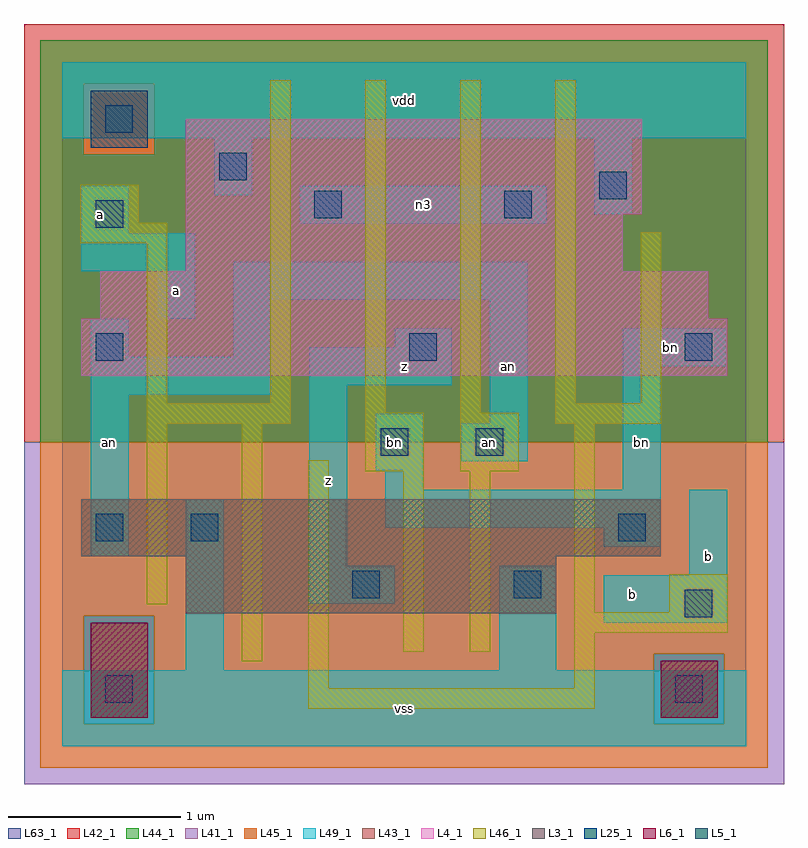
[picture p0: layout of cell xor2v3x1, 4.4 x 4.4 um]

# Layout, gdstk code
import gdstk
lib = gdstk.Library(unit=1e-6, precision=1e-09)
def R(c, l, rs):  # rectangles x0, y0, x1, y1
    for r in rs: c.add(gdstk.rectangle(r[:2], r[2:], *l))
L3_1 = (3, 1)
L4_1 = (4, 1)
L5_1 = (5, 1)
L6_1 = (6, 1)
L25_1 = (25, 1)
L41_1 = (41, 1)
L42_1 = (42, 1)
L43_1 = (43, 1)
L44_1 = (44, 1)
L45_1 = (45, 1)
L46_1 = (46, 1)
L49_1 = (49, 1)
L63_1 = (63, 1)

xor2v3x1 = lib.new_cell('xor2v3x1')
R(xor2v3x1, L3_1, [(0.715,0.77,2.86,1.1), (0.11,1.1,3.465,1.43)])
R(xor2v3x1, L4_1, [(0.11,2.145,3.85,2.475), (0.22,2.475,3.74,2.75), (0.715,2.75,3.245,3.08), (0.715,3.08,3.355,3.63)])
R(xor2v3x1, L5_1, [(0.165,3.465,0.495,3.795)])
R(xor2v3x1, L6_1, [(0.165,0.165,0.495,0.715), (3.465,0.165,3.795,0.495)])
R(xor2v3x1, L25_1, [(0.25,0.25,0.41,0.41), (3.55,0.25,3.71,0.41), (3.605,0.745,3.765,0.905), (1.68,0.855,1.84,1.015), (2.615,0.855,2.775,1.015), (0.195,1.185,0.355,1.345), (0.745,1.185,0.905,1.345), (3.22,1.185,3.38,1.345), (1.845,1.68,2.005,1.84), (2.395,1.68,2.555,1.84), (0.195,2.23,0.355,2.39), (2.01,2.23,2.17,2.39), (3.605,2.23,3.765,2.39), (0.195,3,0.355,3.16), (1.46,3.055,1.62,3.215), (2.56,3.055,2.72,3.215), (3.11,3.165,3.27,3.325), (0.91,3.275,1.07,3.435), (0.25,3.55,0.41,3.71)])
R(xor2v3x1, L41_1, [(-0.22,-0.22,4.18,1.76)])
R(xor2v3x1, L42_1, [(-0.22,1.76,4.18,4.18)])
R(xor2v3x1, L43_1, [(0.165,0.165,0.495,0.715), (3.465,0.165,3.795,0.495), (0.715,0.77,2.86,1.1), (0.11,1.1,3.465,1.43), (0.11,2.145,3.85,2.475), (0.22,2.475,3.74,2.75), (0.715,2.75,3.245,3.08), (0.715,3.08,3.355,3.63), (0.165,3.465,0.495,3.795)])
R(xor2v3x1, L44_1, [(0.125,0.125,0.535,0.755), (3.425,0.125,3.835,0.535), (-0.125,1.76,4.085,3.425), (-0.125,3.425,0.125,3.835), (0.535,3.425,4.085,3.835), (-0.125,3.835,4.085,4.085)])
R(xor2v3x1, L45_1, [(-0.125,-0.125,4.085,0.125), (-0.125,0.125,0.125,0.755), (0.535,0.125,3.425,0.535), (3.835,0.125,4.085,0.535), (0.535,0.535,4.085,0.755), (-0.125,0.755,4.085,1.76), (0.125,3.425,0.535,3.835)])
R(xor2v3x1, L46_1, [(1.425,0.215,3.085,0.335), (1.425,0.335,1.545,1.655), (2.965,0.335,3.085,0.655), (1.04,0.49,1.16,1.865), (1.975,0.545,2.095,1.59), (2.36,0.545,2.48,1.59), (2.965,0.655,3.855,0.775), (2.965,0.775,3.085,1.865), (3.515,0.775,3.855,0.995), (0.49,0.82,0.61,1.865), (1.755,1.59,2.095,1.93), (2.305,1.59,2.645,1.93), (0.49,1.865,1.325,1.985), (2.855,1.865,3.47,1.985), (1.755,1.93,1.875,3.855), (2.305,1.93,2.425,3.855), (0.49,1.985,0.61,2.91), (1.205,1.985,1.325,3.855), (2.855,1.985,2.975,3.855), (3.35,1.985,3.47,2.975), (0.105,2.91,0.61,3.03), (0.105,3.03,0.445,3.25)])
R(xor2v3x1, L49_1, [(0,0,3.96,0.44), (0.715,0.44,0.935,1.43), (2.53,0.44,2.86,1.045), (3.135,0.715,3.85,0.99), (1.43,0.825,1.925,1.045), (3.63,0.99,3.85,1.485), (1.43,1.045,1.65,2.09), (0.165,1.1,0.385,2.035), (3.135,1.155,3.465,1.265), (1.87,1.265,3.465,1.485), (1.87,1.485,2.09,1.595), (3.245,1.485,3.465,2.2), (1.815,1.595,2.09,1.925), (2.31,1.65,2.695,1.87), (2.475,1.87,2.695,2.585), (0.165,2.035,1.21,2.255), (1.43,2.09,2.255,2.31), (3.245,2.2,3.85,2.42), (0.165,2.255,0.385,2.475), (0.99,2.255,1.21,2.585), (1.925,2.31,2.255,2.42), (0.55,2.475,0.77,2.75), (0.99,2.585,2.695,2.805), (0.11,2.75,0.77,2.97), (0.11,2.97,0.385,3.245), (1.375,3.025,2.805,3.245), (3.08,3.08,3.3,3.52), (0.88,3.19,1.1,3.52), (0,3.52,3.96,3.96)])
R(xor2v3x1, L63_1, [(0,0,3.96,3.96)])
xor2v3x1.add(gdstk.Label('bn', (1.925,1.76), layer=49, texttype=1))
xor2v3x1.add(gdstk.Label('an', (2.475,1.76), layer=49, texttype=1))
xor2v3x1.add(gdstk.Label('an', (0.275,1.76), layer=49, texttype=1))
xor2v3x1.add(gdstk.Label('a', (0.66,2.64), layer=49, texttype=1))
xor2v3x1.add(gdstk.Label('a', (0.22,3.08), layer=49, texttype=1))
xor2v3x1.add(gdstk.Label('z', (1.54,1.54), layer=49, texttype=1))
xor2v3x1.add(gdstk.Label('vss', (1.98,0.22), layer=49, texttype=1))
xor2v3x1.add(gdstk.Label('an', (2.585,2.2), layer=49, texttype=1))
xor2v3x1.add(gdstk.Label('z', (1.98,2.2), layer=49, texttype=1))
xor2v3x1.add(gdstk.Label('n3', (2.09,3.135), layer=49, texttype=1))
xor2v3x1.add(gdstk.Label('vdd', (1.98,3.74), layer=49, texttype=1))
xor2v3x1.add(gdstk.Label('b', (3.74,1.1), layer=49, texttype=1))
xor2v3x1.add(gdstk.Label('b', (3.3,0.88), layer=49, texttype=1))
xor2v3x1.add(gdstk.Label('bn', (3.355,1.76), layer=49, texttype=1))
xor2v3x1.add(gdstk.Label('bn', (3.52,2.31), layer=49, texttype=1))

lib.write_gds('xor2v3x1.gds')
